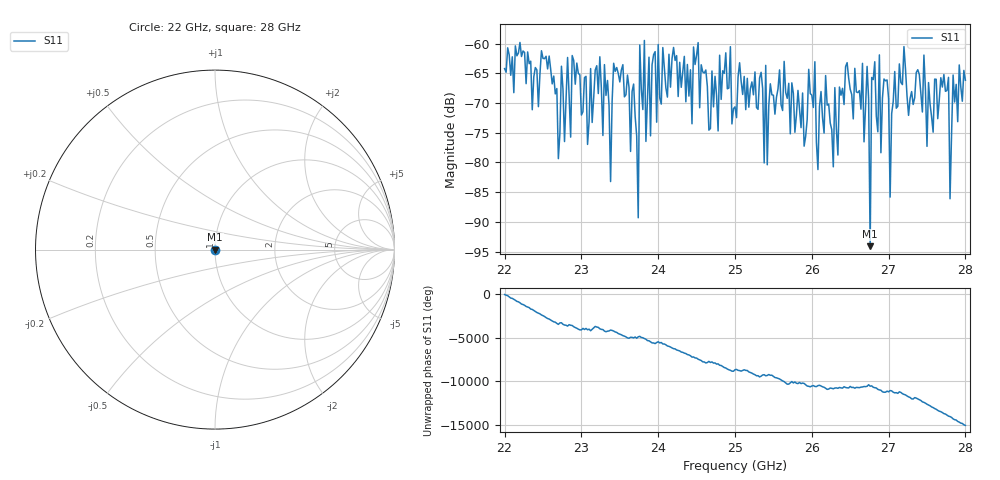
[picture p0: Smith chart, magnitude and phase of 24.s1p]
#  HZ  S  RI  R  50.00
! Rohde & Schwarz ZVA40 4Ports - Version 3.90 - 1145.1110k42 SN: 100403
! Date: 2023-10-04 09:32:17
! Measurement: S12
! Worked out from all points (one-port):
!   301 points, 22 GHz to 28 GHz, reference 50 ohm
!   lowest |S11| = -94.1 dB at 26.76 GHz (marker M1), VSWR 1.00, Z = 50 - j0.00184 ohm
!   |S11| at or under -10 dB: start of sweep to end of sweep
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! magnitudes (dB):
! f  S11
! 22 GHz  -64.2
! 22.76 GHz  -67.7
! 23.08 GHz  -77.0
! 23.24 GHz  -62.2
! 23.38 GHz  -83.2
! 23.42 GHz  -63.3
! 23.5 GHz  -66.5
! 23.74 GHz  -89.3
! 23.76 GHz  -60.2
! 23.82 GHz  -59.5
! 23.84 GHz  -76.5
! 23.88 GHz  -62.3
! 23.9 GHz  -75.5
! 24 GHz  -60.2
! 24.26 GHz  -68.9
! 25 GHz  -70.6
! 25.76 GHz  -68.4
! 26.28 GHz  -80.7
! 26.5 GHz  -67.7
! 26.72 GHz  -63.8
! 26.76 GHz  -94.1
! 26.88 GHz  -61.9
! 26.9 GHz  -78.4
! 27.2 GHz  -60.5
! 27.26 GHz  -72.1
! 27.78 GHz  -65.7
! 27.8 GHz  -86.1
! 28 GHz  -66.2
